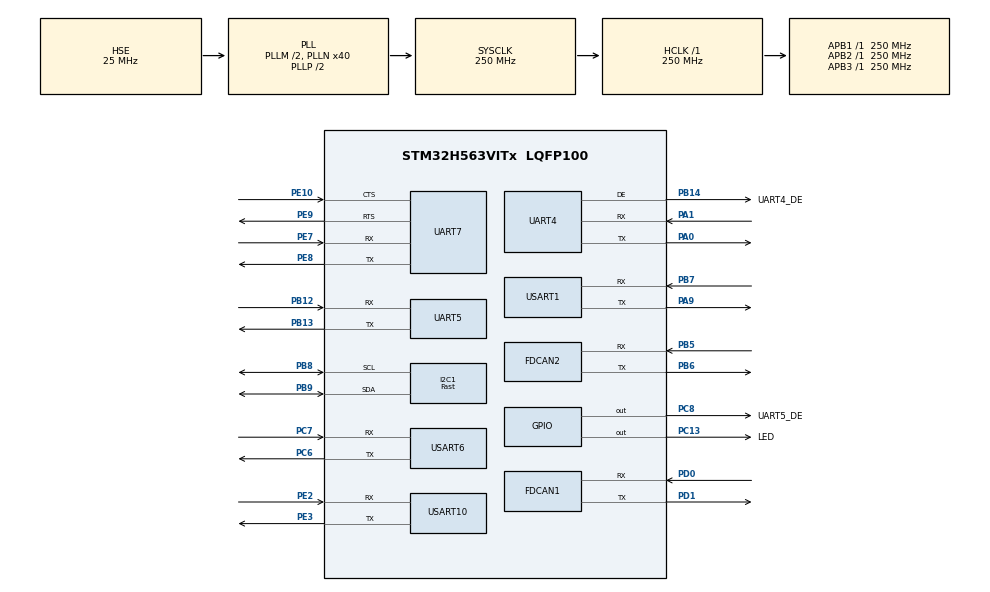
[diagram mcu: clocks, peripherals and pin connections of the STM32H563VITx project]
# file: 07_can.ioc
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BOOTPATH.BootPathName=LEGACY
BOOTPATH.UserSelectedBootPath=LEGACY
CORTEX_M33_NS.userName=CORTEX_M33
FDCAN1.CalculateBaudRateNominal=1666666
FDCAN1.CalculateTimeBitNominal=600
FDCAN1.CalculateTimeQuantumNominal=200.0
FDCAN1.Mode=FDCAN_MODE_INTERNAL_LOOPBACK
FDCAN2.CalculateBaudRateNominal=1666666
FDCAN2.CalculateTimeBitNominal=600
FDCAN2.CalculateTimeQuantumNominal=200.0
GPDMA1.CIRCULARMODE_GPDMACH1=ENABLE
GPDMA1.CIRCULARMODE_GPDMACH2=ENABLE
GPDMA1.RECAP_GPDMACH1=GPDMA1_REQUEST_USART1_RX
I2C1.I2C_Speed_Mode=I2C_Fast
I2C1.Timing=0x10C043E5
Mcu.Family=STM32H5
Mcu.Name=STM32H563VITx
Mcu.Package=LQFP100
NVIC.FDCAN1_IT0_IRQn=true\:0\:0\:false\:false\:true\:true\:true\:true
NVIC.FDCAN1_IT1_IRQn=true\:0\:0\:false\:false\:true\:true\:true\:true
NVIC.FDCAN2_IT0_IRQn=true\:0\:0\:false\:false\:true\:true\:true\:true
NVIC.FDCAN2_IT1_IRQn=true\:0\:0\:false\:false\:true\:true\:true\:true
NVIC.PriorityGroup=NVIC_PRIORITYGROUP_4
NVIC.USART1_IRQn=true\:0\:0\:false\:false\:true\:true\:true\:true
PA0.Mode=Asynchronous
PA0.Signal=UART4_TX
PA1.Mode=Asynchronous
PA1.Signal=UART4_RX
PA9.Mode=Asynchronous
PA9.Signal=USART1_TX
PB12.Mode=Asynchronous
PB12.Signal=UART5_RX
PB13.Mode=Asynchronous
PB13.Signal=UART5_TX
PB14.GPIO_Label=UART4_DE
PB14.Mode=Hardware Flow Control (RS485)
PB14.Signal=UART4_DE
PB5.Mode=FDCAN_Activate
PB5.Signal=FDCAN2_RX
PB6.Mode=FDCAN_Activate
PB6.Signal=FDCAN2_TX
PB7.Mode=Asynchronous
PB7.Signal=USART1_RX
PB8.Mode=I2C
PB8.Signal=I2C1_SCL
PB9.Mode=I2C
PB9.Signal=I2C1_SDA
PC13.GPIO_Label=LED
PC13.Signal=GPIO_Output
PC14-OSC32_IN(OSC32_IN).Mode=LSE-External-Oscillator
PC14-OSC32_IN(OSC32_IN).Signal=RCC_OSC32_IN
PC15-OSC32_OUT(OSC32_OUT).Mode=LSE-External-Oscillator
PC15-OSC32_OUT(OSC32_OUT).Signal=RCC_OSC32_OUT
PC6.Mode=Asynchronous
PC6.Signal=USART6_TX
PC7.Mode=Asynchronous
PC7.Signal=USART6_RX
PC8.GPIO_Label=UART5_DE
PC8.Signal=GPIO_Output
PD0.Mode=FDCAN_Activate
PD0.Signal=FDCAN1_RX
PD1.Mode=FDCAN_Activate
PD1.Signal=FDCAN1_TX
PE10.Mode=CTS_RTS
PE10.Signal=UART7_CTS
PE2.Mode=Asynchronous
PE2.Signal=USART10_RX
PE3.Mode=Asynchronous
PE3.Signal=USART10_TX
PE7.Mode=Asynchronous
PE7.Signal=UART7_RX
PE8.Mode=Asynchronous
PE8.Signal=UART7_TX
PE9.Mode=CTS_RTS
PE9.Signal=UART7_RTS
PH0-OSC_IN(PH0).Mode=HSE-External-Oscillator
PH0-OSC_IN(PH0).Signal=RCC_OSC_IN
PH1-OSC_OUT(PH1).Mode=HSE-External-Oscillator
PH1-OSC_OUT(PH1).Signal=RCC_OSC_OUT
ProjectManager.HeapSize=0x200
ProjectManager.StackSize=0x400
ProjectManager.TargetToolchain=STM32CubeIDE
RCC.ADCFreq_Value=250000000
RCC.AHBFreq_Value=250000000
RCC.APB1Freq_Value=250000000
RCC.APB1TimFreq_Value=250000000
RCC.APB2Freq_Value=250000000
RCC.APB2TimFreq_Value=250000000
RCC.APB3Freq_Value=250000000
RCC.CSI_VALUE=4000000
RCC.CortexFreq_Value=250000000
RCC.EPOD_VALUE=25000000
RCC.FDCANClockSelection=RCC_FDCANCLKSOURCE_PLL2Q
RCC.HCLKFreq_Value=250000000
RCC.HSE_VALUE=25000000
RCC.HSI48_VALUE=48000000
RCC.HSI_VALUE=64000000
RCC.LSIRC_VALUE=32000
RCC.PLL2M=5
RCC.PLL2N=32
RCC.PLL2Source=RCC_PLL2_SOURCE_HSE
RCC.PLLM=2
RCC.PLLN=40
RCC.PLLSourceVirtual=RCC_PLL1_SOURCE_HSE
RCC.SYSCLKFreq_VALUE=250000000
RCC.SYSCLKSource=RCC_SYSCLKSOURCE_PLLCLK
RCC.USBFreq_Value=48000000
RCC.VCOOutputFreq_Value=500000000
USART1.VirtualMode-Asynchronous=VM_ASYNC
USART10.VirtualMode=VM_ASYNC
USART6.VirtualMode=VM_ASYNC
VP_BOOTPATH_VS_BOOTPATH.Mode=BP_Activate
VP_CORTEX_M33_NS_VS_Hclk.Mode=Hclk_Mode
VP_GPDMA1_VS_GPDMACH1.Mode=SIMPLEREQUEST_GPDMACH1
VP_GPDMA1_VS_GPDMACH2.Mode=SIMPLEREQUEST_GPDMACH2
VP_ICACHE_VS_ENABLE_ICACHE_MEMORY.Mode=Memoryregions
VP_ICACHE_VS_ICACHE.Mode=DirectMappedCache
VP_MEMORYMAP_VS_MEMORYMAP.Mode=CurAppReg
VP_PWR_VS_LPOM.Mode=PowerOptimisation
VP_PWR_VS_SECSignals.Mode=Security/Privilege
board=custom

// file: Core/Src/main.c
/* USER CODE BEGIN Header */
/**
 ******************************************************************************
 * @file           : main.c
 * @brief          : Main program body
 ******************************************************************************
 * @attention
 *
 * Copyright (c) 2026 STMicroelectronics.
 * All rights reserved.
 *
 * This software is licensed under terms that can be found in the LICENSE file
 * in the root directory of this software component.
 * If no LICENSE file comes with this software, it is provided AS-IS.
 *
 ******************************************************************************
 */

/**
 * @brief 해당 예제는 CAN 통신을 다뤄볼 예정입니다.
 *        cli에서 can 메시지를 송신하거나 수신해보는 예제코드 입니다.
 *        혹여나 target보드 등이 없어 can 테스트를 해보기 힘드신 분들은
 *        _USE_CAN_LOOPBACK_MODE 를 1로 바꿔주시면 자가 테스트가 가능합니다.
 *
 * @note 해당 예제를 실험하기 위해서 .ioc내 클럭설정에서 CAN이 80MHZ에 맞춰진 환경이어야 합니다.
 *       CANFD를 사용하지만 간단한 실험을 위해 Classic CAN처럼 이용하도록 하겠습니다.
 *       따라서 BRS(Bit Rate Switch(비트 속도 전환))옵션을 끄도록 하겠습니다.
 *
 * @note main파일이 너무 길어지는 관계로 별도의 파일 "custom_can.c" "custom_can.h"를 만들겠습니다.
 */

/* USER CODE END Header */
#include "main.h"
#include "fdcan.h"
#include "gpdma.h"
#include "gpio.h"
#include "i2c.h"
#include "icache.h"
#include "usart.h"

/* USER CODE BEGIN Includes */
#include <stdbool.h>
#include <stdlib.h>
#include <string.h>

#include "cli.h"
#include "custom_can.h" // can include 추가
#include "ssd1306.h"

/* USER CODE END Includes */

/* USER CODE BEGIN PD */

#define _USE_CAN_LOOPBACK_MODE 0 // CAN loopback 사용 여부

/* USER CODE END PD */

/* USER CODE BEGIN PV */

static uint8_t debug_uart_rx_char;
static bool    cli_led_toggle_req;
static bool    oled_block_mode_req = false;
static bool    can_block_mode_req  = false; // CAN 블로킹 플래그 추가

extern UART_HandleTypeDef huart1;
extern UART_HandleTypeDef huart4;
extern UART_HandleTypeDef huart5;
extern UART_HandleTypeDef huart6;
extern UART_HandleTypeDef huart7;
extern UART_HandleTypeDef huart10;

extern FDCAN_HandleTypeDef hfdcan1; // CAN 핸들러 추가
extern FDCAN_HandleTypeDef hfdcan2; // CAN 핸들러 추가

/* USER CODE END PV */

void SystemClock_Config(void);
void PeriphCommonClock_Config(void);
/* USER CODE BEGIN PFP */

/**
 * @brief 각각의 기능에 대한 함수를 만들어 줍니다.
 */
void cliLed(cli_args_t *args);
void cliUart6(cli_args_t *args);
void cliUart10(cli_args_t *args);
void cliRs232(cli_args_t *args);
void cliRs485(cli_args_t *args);
void cliOled(cli_args_t *args);
void cliCan(cli_args_t *args); // CAN 명령어 추가

/* USER CODE END PFP */

/* USER CODE BEGIN 0 */

/**
 * @brief uart 수신 콜백함수에서 cliProcess에 바로 문자를 하나씩 넘겨줍니다.
 */
void HAL_UART_RxCpltCallback(UART_HandleTypeDef *huart)
{
  if (huart == &huart1)
  {
    // OLED나 CAN 블로킹 모드가 아닐 때만 CLI 처리
    if (!oled_block_mode_req && !can_block_mode_req)
    {
      cliProcess(debug_uart_rx_char);
      HAL_UART_Receive_IT(&huart1, &debug_uart_rx_char, 1);
    }
  }
}

/**
 * @brief arduino와 같은 함수명 (선택 사항)
 */
uint32_t millis(void)
{
  return HAL_GetTick();
}

/**
 * @brief led처리 함수 : 사용법 (ex : "led toggle")
 */
void cliLed(cli_args_t *args)
{
  if (args->argc < 1)
  {
    cliPrintf("Usage: led on\r\n");
    cliPrintf("Usage: led off\r\n");
    cliPrintf("Usage: led toggle\r\n");
    return;
  }

  if (strcmp(args->argv[0], "on") == 0)
  {
    if (cli_led_toggle_req)
    {
      cli_led_toggle_req = false;
    }
    HAL_GPIO_WritePin(LED_GPIO_Port, LED_Pin, GPIO_PIN_RESET);
    cliPrintf("LED ON\r\n");
  }
  else if (strcmp(args->argv[0], "off") == 0)
  {
    if (cli_led_toggle_req)
    {
      cli_led_toggle_req = false;
    }
    HAL_GPIO_WritePin(LED_GPIO_Port, LED_Pin, GPIO_PIN_SET);
    cliPrintf("LED OFF\r\n");
  }
  else if (strcmp(args->argv[0], "toggle") == 0)
  {
    cli_led_toggle_req = true;
  }
  else
  {
    cliPrintf("Error: use 'on' or 'off'\r\n");
  }
}

/**
 * @brief uart send 함수 : 사용법 (ex : "uart6")
 */
void cliUart6(cli_args_t *args)
{
  char msg[] = "[SENT]Hello Uart!\r\n";
  HAL_UART_Transmit(&huart6, (uint8_t *)msg, strlen(msg), 100);
  cliPrintf("UART6 transmitted\r\n");
}

/**
 * @brief uart send 함수 : 사용법 (ex : "uart10")
 */
void cliUart10(cli_args_t *args)
{
  char msg[] = "[SENT]Hello Uart!\r\n";
  HAL_UART_Transmit(&huart10, (uint8_t *)msg, strlen(msg), 100);
  cliPrintf("UART10 transmitted\r\n");
}

/**
 * @brief rs232 send 함수 : 사용법 (ex : "rs232")
 */
void cliRs232(cli_args_t *args)
{
  char msg[] = "[RS232]Hello Uart!\r\n";
  HAL_UART_Transmit(&huart7, (uint8_t *)msg, strlen(msg), 100);
  cliPrintf("RS232 transmitted\r\n");
}

/**
 * @brief rs485 send 함수 : 사용법 (ex : "rs485 1")
 */
void cliRs485(cli_args_t *args)
{
  if (args->argc < 1)
  {
    cliPrintf("Usage: rs485 1 or 2\r\n");
    return;
  }

  if (strcmp(args->argv[0], "1") == 0)
  {
    HAL_GPIO_WritePin(UART5_DE_GPIO_Port, UART5_DE_Pin, GPIO_PIN_SET);

    char msg[] = "[RS485-1]Hello Uart!\r\n";
    HAL_UART_Transmit(&huart5, (uint8_t *)msg, strlen(msg), 100);

    while (__HAL_UART_GET_FLAG(&huart5, UART_FLAG_TC) == RESET)
      ;

    HAL_GPIO_WritePin(UART5_DE_GPIO_Port, UART5_DE_Pin, GPIO_PIN_RESET);
    cliPrintf("RS485-1 transmitted\r\n");
  }
  else if (strcmp(args->argv[0], "2") == 0)
  {
    HAL_GPIO_WritePin(UART4_DE_GPIO_Port, UART4_DE_Pin, GPIO_PIN_SET);

    char msg[] = "[RS485-2]Hello Uart!\r\n";
    HAL_UART_Transmit(&huart4, (uint8_t *)msg, strlen(msg), 100);

    while (__HAL_UART_GET_FLAG(&huart4, UART_FLAG_TC) == RESET)
      ;

    HAL_GPIO_WritePin(UART4_DE_GPIO_Port, UART4_DE_Pin, GPIO_PIN_RESET);
    cliPrintf("RS485-2 transmitted\r\n");
  }
  else
  {
    cliPrintf("Error: use '1' or '2'\r\n");
  }
}

/**
 * @brief oled에 문자열을 출력하는 함수
 *        (사용법 : oled test 입력 후 실시간으로 타이핑 시 oled에 입력)
 *        (나갈때는 Enter)
 */
void cliOled(cli_args_t *args)
{
  if (args->argc < 1 || strcmp(args->argv[0], "test") != 0)
  {
    cliPrintf("Usage: oled test\r\n");
    return;
  }

  oled_block_mode_req = true;

  HAL_UART_AbortReceive_IT(&huart1);

  ssd1306Clear();
  ssd1306SetCursor(0, 0);
  ssd1306UpdateScreen();

  uint8_t ch;

  while (1)
  {
    HAL_StatusTypeDef ret = HAL_UART_Receive(&huart1, &ch, 1, 10);

    if (ret == HAL_OK)
    {
      if (ch == '\r' || ch == '\n')
      {
        ssd1306Clear();
        ssd1306UpdateScreen();
        break;
      }
      else
      {
        ssd1306WriteChar((char)ch);
        ssd1306UpdateScreen();
      }
    }
  }

  oled_block_mode_req = false;
  HAL_UART_Receive_IT(&huart1, &debug_uart_rx_char, 1);
}

/**
 * @brief CAN 테스트 명령어
 *        사용법: can test 1 (CAN1 테스트)
 *              can test 2 (CAN2 테스트)
 */
void cliCan(cli_args_t *args)
{
  // 사용법 출력
  if (args->argc < 2)
  {
    cliPrintf("Usage: can test ch\r\n");
    cliPrintf("ch: [1 ~ 2]\r\n");
    return;
  }

  // 명령어 확인
  if (strcmp(args->argv[0], "test") != 0)
  {
    cliPrintf("Unknown command. Use 'can test ch'\r\n");
    return;
  }

  // 채널 파싱
  uint8_t ch = 0;
  if (args->argc >= 2 && strlen(args->argv[1]) == 1)
  {
    if (args->argv[1][0] == '1')
    {
      ch = 1;
    }
    else if (args->argv[1][0] == '2')
    {
      ch = 2;
    }
  }
  else
  {
    cliPrintf("Error: Channel must be 1 or 2\r\n");
    return;
  }

  if (ch == 0)
  {
    cliPrintf("Error: Invalid channel format\r\n");
    return;
  }

  // CAN 핸들러 선택
  FDCAN_HandleTypeDef *p_can = (ch == 1) ? &hfdcan1 : &hfdcan2;

#if _USE_CAN_LOOPBACK_MODE
  if (!customCanInit(p_can, true))           // 루프백 모드
  {
    cliPrintf("Error: CAN init failed\r\n"); // can 초기화 실패
    return;
  }
  cliPrintf("CAN%d started in LOOPBACK mode\r\n", ch);
#else
  if (!customCanInit(p_can, false)) // 정상 모드
  {
    cliPrintf("Error: CAN init failed\r\n");
    return;
  }
  cliPrintf("CAN%d started in NORMAL mode\r\n", ch);
#endif

  // 블로킹 모드 진입
  can_block_mode_req = true;
  HAL_UART_AbortReceive_IT(&huart1); // 인터럽트 중지

  uint8_t uart_rx_data;

  while (1)
  {
    // 폴링 방식으로 키보드 입력 대기
    HAL_StatusTypeDef ret = HAL_UART_Receive(&huart1, &uart_rx_data, 1, 10);

    if (ret == HAL_OK)
    {
      // Enter 입력 시 종료
      if (uart_rx_data == '\r' || uart_rx_data == '\n')
      {
        break;
      }

      // CAN 메시지 전송
      FDCAN_TxHeaderTypeDef tx_header;
      uint8_t               tx_data[8] = {0};

      // 첫 바이트에 사용자 입력 문자의 16진수 값 저장
      tx_data[0] = uart_rx_data;

      // TX 헤더 설정
      tx_header.Identifier          = 0x123;             // CAN ID (예시)
      tx_header.IdType              = FDCAN_STANDARD_ID; // 표준 ID (11비트)
      tx_header.TxFrameType         = FDCAN_DATA_FRAME;  // 데이터 프레임
      tx_header.DataLength          = FDCAN_DLC_BYTES_8; // 8바이트
      tx_header.ErrorStateIndicator = FDCAN_ESI_ACTIVE;
      tx_header.BitRateSwitch       = FDCAN_BRS_OFF;     // BRS 끄기
      tx_header.FDFormat            = FDCAN_CLASSIC_CAN; // Classic CAN
      tx_header.TxEventFifoControl  = FDCAN_NO_TX_EVENTS;
      tx_header.MessageMarker       = 0;

      // 메시지 전송
      if (HAL_FDCAN_AddMessageToTxFifoQ(p_can, &tx_header, tx_data) != HAL_OK)
      {
        cliPrintf("[TX] Error: Failed to send\r\n");
      }
      else
      {
        cliPrintf("[TX] Char:'%c' (0x%02X) sent\r\n",
                  (uart_rx_data >= 32 && uart_rx_data <= 126) ? uart_rx_data : '.',
                  uart_rx_data);
      }

      uint32_t rx_fifo = HAL_FDCAN_GetRxFifoFillLevel(p_can, FDCAN_RX_FIFO0);

      // RX FIFO 비우기
      while (rx_fifo > 0)
      {
        FDCAN_RxHeaderTypeDef rx_header;
        uint8_t               rx_data[8];

        if (HAL_FDCAN_GetRxMessage(p_can, FDCAN_RX_FIFO0, &rx_header, rx_data) == HAL_OK)
        {
          cliPrintf(" [RX] ID:0x%03lX 0x%02X '%c'\r\n",
                    rx_header.Identifier, rx_data[0],
                    (rx_data[0] >= 32 && rx_data[0] <= 126) ? rx_data[0] : '.');
        }
        rx_fifo--;
      }
    }
  }

  // CAN 종료
  customCanClose(p_can);

  // 블로킹 모드 해제
  can_block_mode_req = false;
  HAL_UART_Receive_IT(&huart1, &debug_uart_rx_char, 1); // uart 인터럽트 재활성화
}

/* USER CODE END 0 */

int main(void)
{

  /* MCU Configuration--------------------------------------------------------*/

  /* Reset of all peripherals, Initializes the Flash interface and the Systick. */
  HAL_Init();

  /* Configure the system clock */
  SystemClock_Config();

  /* Configure the peripherals common clocks */
  PeriphCommonClock_Config();

  /* Initialize all configured peripherals */
  MX_GPIO_Init();
  MX_GPDMA1_Init();
  MX_USART1_UART_Init();
  MX_USART6_UART_Init();
  MX_USART10_UART_Init();
  MX_ICACHE_Init();
  MX_UART7_Init();
  MX_UART4_Init();
  MX_UART5_Init();
  MX_I2C1_Init();
  MX_FDCAN1_Init();
  MX_FDCAN2_Init();
  /* USER CODE BEGIN 2 */
  HAL_GPIO_WritePin(LED_GPIO_Port, LED_Pin, GPIO_PIN_SET);

  HAL_UART_Receive_IT(&huart1, &debug_uart_rx_char, 1);

  HAL_GPIO_WritePin(UART4_DE_GPIO_Port, UART4_DE_Pin, GPIO_PIN_RESET);
  HAL_GPIO_WritePin(UART5_DE_GPIO_Port, UART5_DE_Pin, GPIO_PIN_RESET);

  // cli 초기화 및 명령을 등록 해줍시다.
  cliInit();
  cliAdd("led", cliLed);
  cliAdd("uart6", cliUart6);
  cliAdd("uart10", cliUart10);
  cliAdd("rs232", cliRs232);
  cliAdd("rs485", cliRs485);
  cliAdd("oled", cliOled);
  cliAdd("can", cliCan); // can 추가

  ssd1306Init();

  /* USER CODE END 2 */

  /* Infinite loop */
  /* USER CODE BEGIN WHILE */

  while (1)
  {
    if (cli_led_toggle_req)
    {
      static uint32_t pre_time;
      static bool     current_led_state = true; // off

      if (millis() - pre_time > 500)
      {
        pre_time          = millis();
        current_led_state = !current_led_state;
        HAL_GPIO_WritePin(LED_GPIO_Port, LED_Pin, current_led_state);
      }
    }

    /* USER CODE END WHILE */

  }
}

void SystemClock_Config(void)
{
  RCC_OscInitTypeDef RCC_OscInitStruct = {0};
  RCC_ClkInitTypeDef RCC_ClkInitStruct = {0};

  /** Configure the main internal regulator output voltage
   */
  __HAL_PWR_VOLTAGESCALING_CONFIG(PWR_REGULATOR_VOLTAGE_SCALE0);

  while (!__HAL_PWR_GET_FLAG(PWR_FLAG_VOSRDY))
  {
  }

  /** Initializes the RCC Oscillators according to the specified parameters
   * in the RCC_OscInitTypeDef structure.
   */
  RCC_OscInitStruct.OscillatorType = RCC_OSCILLATORTYPE_HSE;
  RCC_OscInitStruct.HSEState       = RCC_HSE_ON;
  RCC_OscInitStruct.PLL.PLLState   = RCC_PLL_ON;
  RCC_OscInitStruct.PLL.PLLSource  = RCC_PLL1_SOURCE_HSE;
  RCC_OscInitStruct.PLL.PLLM       = 2;
  RCC_OscInitStruct.PLL.PLLN       = 40;
  RCC_OscInitStruct.PLL.PLLP       = 2;
  RCC_OscInitStruct.PLL.PLLQ       = 2;
  RCC_OscInitStruct.PLL.PLLR       = 2;
  RCC_OscInitStruct.PLL.PLLRGE     = RCC_PLL1_VCIRANGE_3;
  RCC_OscInitStruct.PLL.PLLVCOSEL  = RCC_PLL1_VCORANGE_WIDE;
  RCC_OscInitStruct.PLL.PLLFRACN   = 0;
  if (HAL_RCC_OscConfig(&RCC_OscInitStruct) != HAL_OK)
  {
    Error_Handler();
  }

  /** Initializes the CPU, AHB and APB buses clocks
   */
  RCC_ClkInitStruct.ClockType      = RCC_CLOCKTYPE_HCLK | RCC_CLOCKTYPE_SYSCLK | RCC_CLOCKTYPE_PCLK1 | RCC_CLOCKTYPE_PCLK2 | RCC_CLOCKTYPE_PCLK3;
  RCC_ClkInitStruct.SYSCLKSource   = RCC_SYSCLKSOURCE_PLLCLK;
  RCC_ClkInitStruct.AHBCLKDivider  = RCC_SYSCLK_DIV1;
  RCC_ClkInitStruct.APB1CLKDivider = RCC_HCLK_DIV1;
  RCC_ClkInitStruct.APB2CLKDivider = RCC_HCLK_DIV1;
  RCC_ClkInitStruct.APB3CLKDivider = RCC_HCLK_DIV1;

  if (HAL_RCC_ClockConfig(&RCC_ClkInitStruct, FLASH_LATENCY_5) != HAL_OK)
  {
    Error_Handler();
  }

  /** Configure the programming delay
   */
  __HAL_FLASH_SET_PROGRAM_DELAY(FLASH_PROGRAMMING_DELAY_2);
}

void PeriphCommonClock_Config(void)
{
  RCC_PeriphCLKInitTypeDef PeriphClkInitStruct = {0};

  /** Initializes the peripherals clock
   */
  PeriphClkInitStruct.PeriphClockSelection = RCC_PERIPHCLK_FDCAN;
  PeriphClkInitStruct.PLL2.PLL2Source      = RCC_PLL2_SOURCE_HSE;
  PeriphClkInitStruct.PLL2.PLL2M           = 5;
  PeriphClkInitStruct.PLL2.PLL2N           = 32;
  PeriphClkInitStruct.PLL2.PLL2P           = 2;
  PeriphClkInitStruct.PLL2.PLL2Q           = 2;
  PeriphClkInitStruct.PLL2.PLL2R           = 2;
  PeriphClkInitStruct.PLL2.PLL2RGE         = RCC_PLL2_VCIRANGE_2;
  PeriphClkInitStruct.PLL2.PLL2VCOSEL      = RCC_PLL2_VCORANGE_WIDE;
  PeriphClkInitStruct.PLL2.PLL2FRACN       = 0;
  PeriphClkInitStruct.PLL2.PLL2ClockOut    = RCC_PLL2_DIVQ;
  PeriphClkInitStruct.FdcanClockSelection  = RCC_FDCANCLKSOURCE_PLL2Q;
  if (HAL_RCCEx_PeriphCLKConfig(&PeriphClkInitStruct) != HAL_OK)
  {
    Error_Handler();
  }
}

void Error_Handler(void)
{
  __disable_irq();
  while (1)
  {
  }
}
